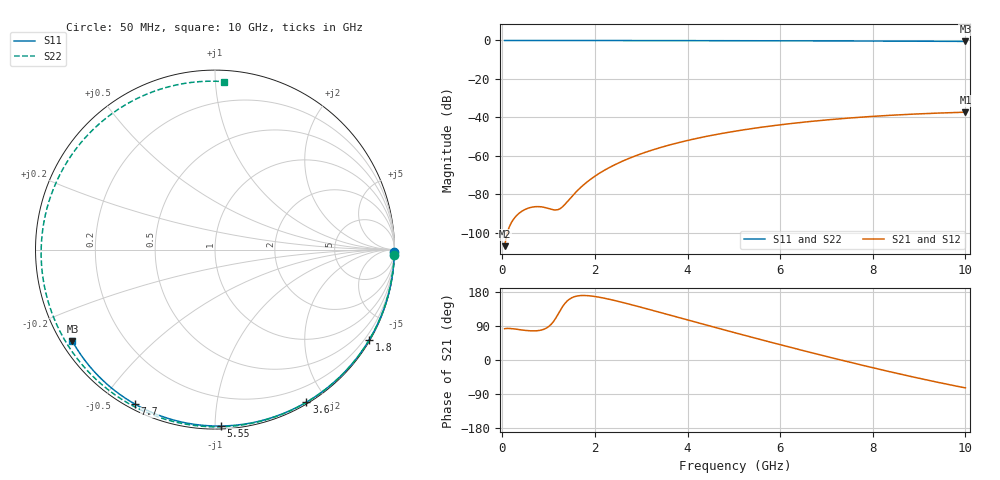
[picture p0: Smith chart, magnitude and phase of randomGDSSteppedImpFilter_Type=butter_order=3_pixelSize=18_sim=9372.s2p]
! freq	dB(S11)	phase(S11)	dB(S12)	phase(S12)
!  dB(S21)	phase(S21)	dB(S22)	phase(S22)
!S-par simulation data
#  GHz  S  DB  R 50
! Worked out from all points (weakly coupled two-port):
!   200 points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, 50 MHz to 10 GHz, reference 50 ohm
!   highest |S21| = -37.27 dB at 10 GHz (marker M1); lowest = -106.9 dB at 50 MHz (marker M2)
!   lowest |S11| = -0.5 dB at 10 GHz (marker M3), VSWR 35.01, Z = 1.55 - j14.7 ohm
!   |S11| at or under -10 dB: nowhere
!   |S22| runs from -0.6 to 0.0 dB; largest |S21 - S12| = 0
!   S11 on the Smith chart (normalised r, x): 50 MHz: open; 1.8 GHz: 0.03, -3.69; 3.6 GHz: 0.02, -1.76; 5.55 GHz: 0.02, -1.04; 7.7 GHz: 0.02, -0.61; 10 GHz: 0.03, -0.29
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0.05  -0.00 -0.8  -106.86 82.5  -106.86 82.5  -0.00 -1.7
0.4  -0.01 -6.8  -89.09 79.6  -89.09 79.6  -0.02 -14.1
0.75  -0.02 -12.8  -86.31 77.2  -86.31 77.2  -0.03 -26.4
1.5  -0.03 -25.4  -81.11 164.2  -81.11 164.2  -0.06 -51.8
1.55  -0.03 -26.2  -79.78 166.7  -79.78 166.7  -0.07 -53.4
1.75  -0.04 -29.5  -75.12 170.3  -75.12 170.3  -0.07 -59.9
1.8  -0.04 -30.3  -74.10 170.1  -74.10 170.1  -0.08 -61.5
2.1  -0.05 -35.2  -68.94 165.6  -68.94 165.6  -0.09 -70.9
2.45  -0.05 -40.9  -64.32 156.3  -64.32 156.3  -0.10 -81.6
2.9  -0.06 -48.1  -59.72 142.3  -59.72 142.3  -0.11 -94.7
3.4  -0.07 -56.0  -55.73 125.8  -55.73 125.8  -0.13 -108.6
3.6  -0.08 -59.1  -54.36 119.1  -54.36 119.1  -0.14 -114.0
4.35  -0.10 -70.5  -50.11 94.1  -50.11 94.1  -0.17 -133.3
5.05  -0.12 -80.8  -47.04 71.0  -47.04 71.0  -0.20 -150.5
5.55  -0.14 -88.0  -45.23 54.8  -45.23 54.8  -0.23 -162.3
6.1  -0.17 -95.7  -43.54 37.3  -43.54 37.3  -0.26 -175.2
6.7  -0.20 -103.9  -41.97 18.6  -41.97 18.6  -0.30 170.7
7.2  -0.23 -110.7  -40.87 3.3  -40.87 3.3  -0.34 158.9
7.7  -0.27 -117.3  -39.93 -11.6  -39.93 -11.6  -0.38 146.9
8.35  -0.32 -125.8  -38.92 -30.4  -38.92 -30.4  -0.43 130.8
9.2  -0.41 -136.9  -37.93 -53.6  -37.93 -53.6  -0.50 108.8
10  -0.50 -147.3  -37.27 -73.6  -37.27 -73.6  -0.56 86.9
